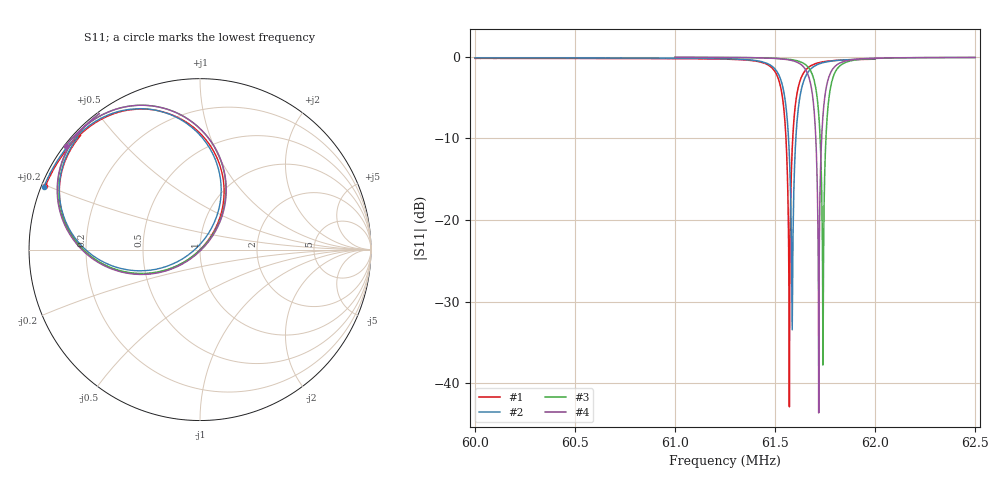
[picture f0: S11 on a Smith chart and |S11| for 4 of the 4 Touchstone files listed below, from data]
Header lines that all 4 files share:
#  HZ  S  DB  R  50.00
! Rohde & Schwarz ZVB8 2Ports - Version 3.70 - 1145.1010k08 SN: 100925
! Measurement: S11
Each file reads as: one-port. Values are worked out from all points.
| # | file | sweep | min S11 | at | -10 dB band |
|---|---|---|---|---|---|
| 1 | SSA84_TaskB_resonator_matched.s1p | 60 MHz to 62 MHz | -42.9 dB | 61.572 MHz | 33.743 kHz wide |
| 2 | SSA84_TaskB_resonator_matched_1.s1p | 60 MHz to 62 MHz | -33.4 dB | 61.586 MHz | 36.501 kHz wide |
| 3 | SSA84_TaskB_resonator_matched_2.s1p | 61 MHz to 62.5 MHz | -37.8 dB | 61.739 MHz | 28.957 kHz wide |
| 4 | SSA84_TaskB_resonator_matched_3.s1p | 61 MHz to 62.5 MHz | -43.6 dB | 61.718 MHz | 29.098 kHz wide |
